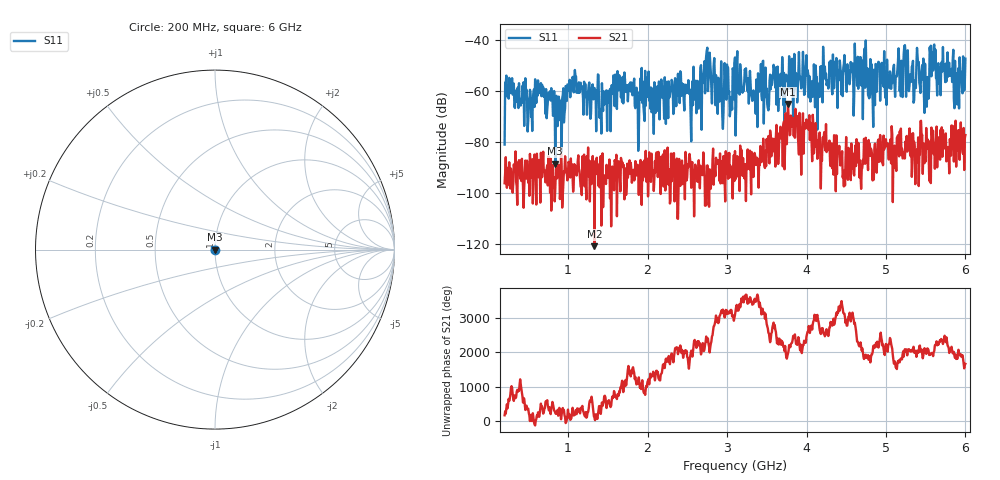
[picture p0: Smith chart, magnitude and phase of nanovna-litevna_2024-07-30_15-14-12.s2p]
! NanoVNA-App by OneOfEleven et al v1.1.209 (+OD15)
! Date: 2024-07-30 15:14:17
! Start: 200MHz Stop: 6GHz Points: 801
! S-Parameter data: F S11 S21 S12 S22
# Hz S RI R 50
!  Frequency  S11_Real  S11_Imag  S21_Real  S21_Imag  S12_Real  S12_Imag  S22_Real  S22_Imag
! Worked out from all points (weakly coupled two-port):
!   801 points, 200 MHz to 6 GHz, reference 50 ohm
!   highest |S21| = -65.13 dB at 3.767 GHz (marker M1); lowest = -120.8 dB at 1.331 GHz (marker M2)
!   lowest |S11| = -88.6 dB at 838 MHz (marker M3), VSWR 1.00, Z = 50 - j0.00321 ohm
!   |S11| at or under -10 dB: start of sweep to end of sweep
!   S12 and S22 are empty: the file has one direction only
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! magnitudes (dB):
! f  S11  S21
! 200 MHz  -81.0  -96.2
! 236.2 MHz  -62.4  -90.3
! 838 MHz  -88.6  -98.4
! 1.07 GHz  -60.6  -96.1
! 1.171 GHz  -58.2  -100.8
! 1.331 GHz  -58.9  -120.8
! 2.136 GHz  -62.1  -83.9
! 2.629 GHz  -56.1  -95.6
! 2.759 GHz  -60.1  -97.3
! 2.926 GHz  -48.4  -91.3
! 3.1 GHz  -47.0  -83.6
! 3.332 GHz  -59.9  -93.7
! 3.767 GHz  -55.4  -65.1
! 4.072 GHz  -56.1  -87.5
! 4.637 GHz  -58.1  -88.0
! 4.811 GHz  -54.0  -82.6
! 5.036 GHz  -57.7  -86.9
! 5.246 GHz  -44.9  -79.8
! 5.507 GHz  -56.4  -74.6
! 5.58 GHz  -49.2  -77.3
! 5.891 GHz  -53.1  -78.2
! 6 GHz  -47.4  -77.3
